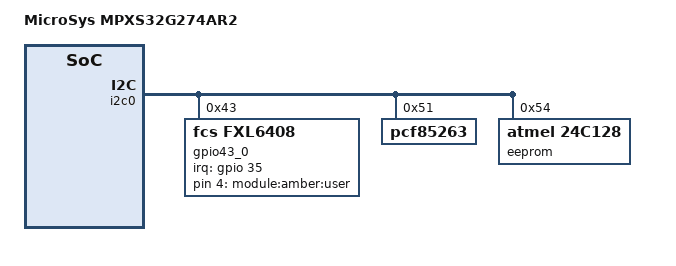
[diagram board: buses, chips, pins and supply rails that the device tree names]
/* SPDX-License-Identifier:    GPL-2.0+ */
/*
 * Copyright (C) 2023 MicroSys Electronics GmbH
 *
 */

/dts-v1/;

#include "s32g2.dtsi"
#include "mpxs32g.dtsi"

/ {
	model = "MicroSys MPXS32G274AR2";
	compatible = "fsl,s32g274-simu", "fsl,s32g274",
			 "arm,vexpress,v2p-aarch64", "arm,vexpress";

	leds: leds {
		compatible = "gpio-leds";
		user0 {
			label = "module:amber:user";
			gpios = <&gpio43_0 4 0>;
			default-state = "off";
		};
	};

	aliases {
		rtc0 = &pcf85263;
		rtc1 = &{/soc/rtc@40060000};
	};
};

&i2c0 {
	gpio43_0: gpio@43 {
		compatible = "fcs,fxl6408";
		gpio-controller;
		#gpio-cells = <2>;
		reg = <0x43>;
		direction = [10];
		input-default-state = [0f];
		output-default-state = [00];
		pull-config = [10 0f]; /* pull-enable / pull-up/down */
		/* PC03 GPIO[35]/EIRQ[15] on Rev. 2 */
		interrupt-parent = <&gpio>;
		interrupts = <35 IRQ_TYPE_EDGE_FALLING>;
		interrupt-controller;
		#interrupt-cells = <2>;

		gpio-line-names = "THRM_ALRT", "THRM_FLT", "RTC_IRQA", "RTC_IRQB",
				"USER_LED", "HW_REV2", "HW_REV1", "HW_REV0";
	};

	pcf85263: rtc@51 {
		compatible = "pcf85263";
		reg = <0x51>;
		// IRQ: RTC_IRQ#
		/*
		interrupt-parent = <&gpio43_0>;
		interrupts = <2 IRQ_TYPE_EDGE_FALLING>, // IRQA#
				<3 IRQ_TYPE_EDGE_FALLING>; // IRQB#
		interrupt-names = "INTA", "INTB";
		*/
	};

	eeprom@54 {
		compatible = "atmel,24c128";
		reg = <0x54>;
		pagesize = <64>;
	};
};

&tmp451_0 {
	// IRQ: THERM_FAULT# and THERM_ALERT#
	/*
	interrupt-parent = <&gpio43_0>;
	interrupts = <0 IRQ_TYPE_EDGE_FALLING>, // THERM_ALERT# == TMP451.ALERT#
			<1 IRQ_TYPE_EDGE_FALLING>; // THERM_FAULT# == TMP451.THERM#
	interrupt-names = "ALERT", "THERM";
	*/
	#limit-cells = <4>;
	limits = <0x00 0xff 0xb4 0x8b>, // Local Temp.:  <-64 191 120 75>
		<0x00 0xff 0xff 0x00>; // Remote Temp.: <-64 191 191  0>
};
